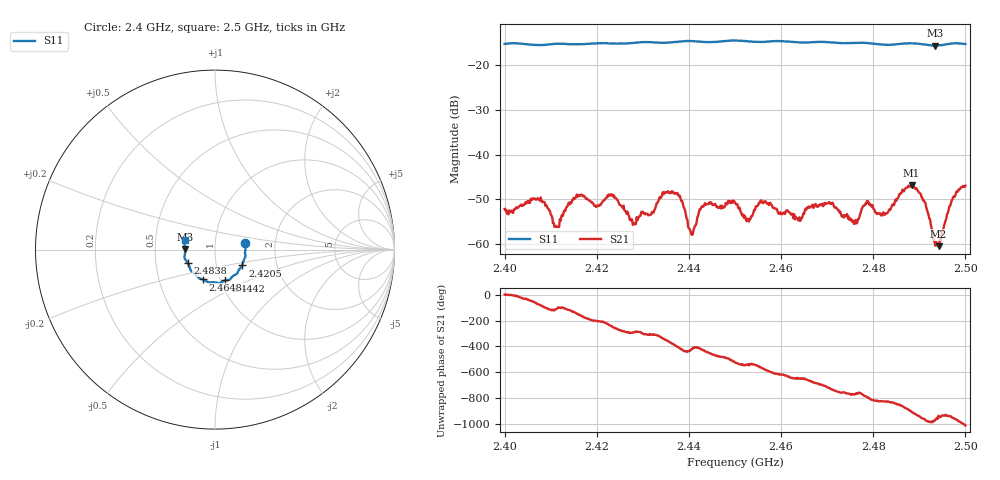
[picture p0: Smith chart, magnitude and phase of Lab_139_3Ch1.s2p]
# Hz S RI R 50
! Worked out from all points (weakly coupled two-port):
!   601 points, 2.4 GHz to 2.5 GHz, reference 50 ohm
!   highest |S21| = -46.89 dB at 2.4883 GHz (marker M1); lowest = -60.5 dB at 2.4942 GHz (marker M2)
!   lowest |S11| = -15.6 dB at 2.4935 GHz (marker M3), VSWR 1.40, Z = 35.8 + j0.129 ohm
!   |S11| at or under -10 dB: start of sweep to end of sweep
!   S12 and S22 are empty: the file has one direction only
!   S11 on the Smith chart (normalised r, x): 2.4 GHz: 1.40, +0.11; 2.4205 GHz: 1.33, -0.24; 2.4442 GHz: 1.05, -0.37; 2.4648 GHz: 0.83, -0.28; 2.4838 GHz: 0.73, -0.11; 2.5 GHz: 0.71, +0.08
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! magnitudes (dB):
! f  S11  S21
! 2.4 GHz  -15.2  -52.2
! 2.4075 GHz  -15.5  -50.1
! 2.4113 GHz  -15.2  -56.2
! 2.4167 GHz  -15.3  -49.0
! 2.4205 GHz  -15.1  -51.5
! 2.4235 GHz  -15.1  -49.4
! 2.428 GHz  -15.0  -55.4
! 2.4333 GHz  -15.0  -50.5
! 2.4375 GHz  -14.8  -48.6
! 2.4405 GHz  -14.6  -57.8
! 2.4442 GHz  -14.8  -51.0
! 2.45 GHz  -14.5  -50.8
! 2.4528 GHz  -14.7  -54.4
! 2.456 GHz  -14.8  -50.6
! 2.4648 GHz  -14.9  -53.2
! 2.4667 GHz  -14.9  -51.5
! 2.4833 GHz  -15.4  -52.7
! 2.4838 GHz  -15.4  -52.1
! 2.4883 GHz  -15.1  -46.9
! 2.4935 GHz  -15.6  -60.4
! 2.4942 GHz  -15.6  -60.5
! 2.5 GHz  -15.3  -47.0
